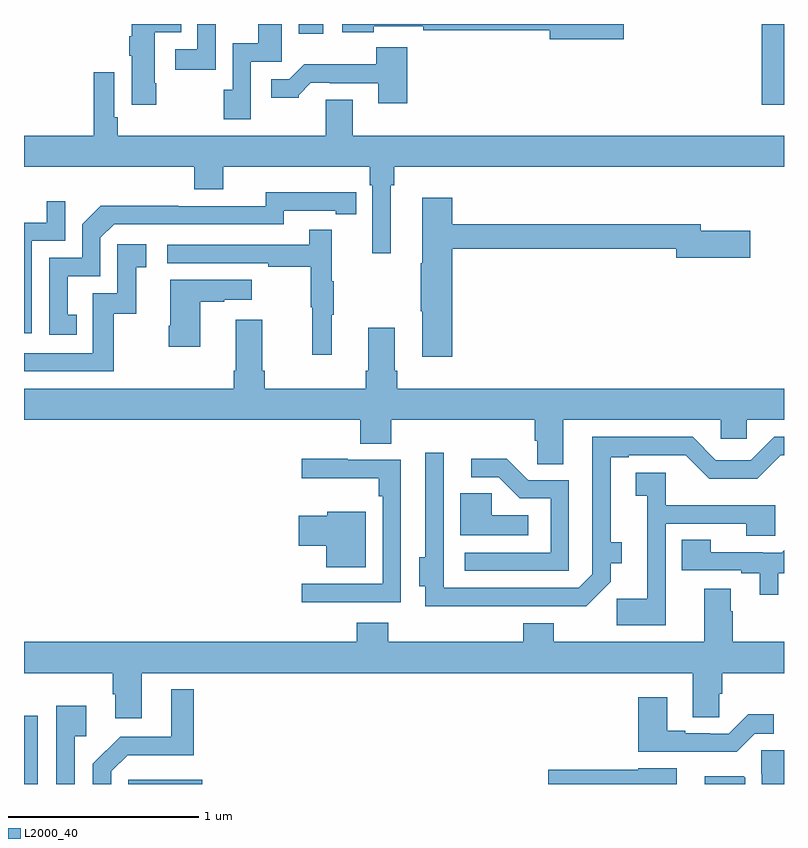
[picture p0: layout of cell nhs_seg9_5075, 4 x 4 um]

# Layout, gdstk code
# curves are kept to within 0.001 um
import gdstk
lib = gdstk.Library(unit=1e-6, precision=1e-09)
def R(c, l, rs):  # rectangles x0, y0, x1, y1
    for r in rs: c.add(gdstk.rectangle(r[:2], r[2:], *l))
def P(c, l, *ps):  # polygons
    for p in ps: c.add(gdstk.Polygon(p, *l))
L2000_40 = (2000, 40)

nhs_seg9_5075 = lib.new_cell('nhs_seg9_5075')
R(nhs_seg9_5075, L2000_40, [(405,1198.5,405.073,1198.86), (405.549,1198.5,405.937,1198.522), (408.884,1202.076,409,1202.5), (406.445,1202.448,406.576,1202.5)])
P(nhs_seg9_5075, L2000_40, [(408.157,1202.5),(406.676,1202.5),(406.676,1202.456),(406.84,1202.456),(406.84,1202.487),(407.101,1202.487),(407.101,1202.467),(407.768,1202.467),(407.768,1202.42),(408.157,1202.42)],
  [(406.194,1202.301),(406.357,1202.301),(406.357,1202.5),(406.232,1202.5),(406.232,1202.398),(406.098,1202.398),(406.098,1202.154),(406.051,1202.154),(406.051,1201.998),(406.194,1201.998)],
  [(405.696,1202.188),(405.688,1202.188),(405.688,1202.456),(405.827,1202.456),(405.827,1202.5),(405.566,1202.5),(405.566,1202.435),(405.554,1202.435),(405.554,1202.332),(405.566,1202.332),(405.566,1202.076),(405.696,1202.076)],
  [(406.008,1202.5),(405.912,1202.5),(405.912,1202.367),(405.795,1202.367),(405.795,1202.259),(406.008,1202.259)],
  [(407.018,1202.377),(406.853,1202.377),(406.853,1202.287),(406.474,1202.287),(406.395,1202.208),(406.302,1202.208),(406.302,1202.111),(406.446,1202.111),(406.446,1202.126),(406.51,1202.19),(406.609,1202.19),(406.609,1202.187),(406.865,1202.187),(406.865,1202.082),(407.018,1202.082)],
  [(406.93,1201.652),(406.949,1201.652),(406.949,1201.748),(409,1201.748),(409,1201.912),(406.729,1201.912),(406.729,1202.102),(406.589,1202.102),(406.589,1201.912),(405.494,1201.912),(405.494,1202.008),(405.474,1202.008),(405.474,1202.245),(405.366,1202.245),(405.366,1201.912),(405,1201.912),(405,1201.748),(405.896,1201.748),(405.896,1201.631),(406.048,1201.631),(406.048,1201.748),(406.82,1201.748),(406.82,1201.652),(406.833,1201.652),(406.833,1201.293),(406.93,1201.293)],
  [(405.278,1200.969),(405.229,1200.969),(405.229,1201.173),(405.402,1201.173),(405.402,1201.374),(405.474,1201.446),(406.368,1201.446),(406.368,1201.518),(406.64,1201.518),(406.64,1201.498),(406.748,1201.498),(406.748,1201.614),(406.272,1201.615),(406.272,1201.542),(405.812,1201.542),(405.812,1201.544),(405.404,1201.544),(405.306,1201.446),(405.306,1201.269),(405.132,1201.269),(405.132,1200.864),(405.278,1200.864)],
  [(407.255,1201.318),(408.434,1201.318),(408.434,1201.271),(408.823,1201.271),(408.823,1201.413),(408.562,1201.413),(408.562,1201.447),(407.255,1201.447),(407.255,1201.585),(407.096,1201.585),(407.096,1201.241),(407.089,1201.241),(407.089,1200.988),(407.096,1200.988),(407.096,1200.75),(407.255,1200.75)],
  [(405.042,1201.359),(405.216,1201.359),(405.216,1201.567),(405.119,1201.567),(405.119,1201.455),(405,1201.455),(405,1200.873),(405.042,1200.873)],
  [(406.619,1200.971),(406.63,1200.971),(406.63,1201.145),(406.619,1201.145),(406.619,1201.417),(406.501,1201.417),(406.501,1201.338),(405.753,1201.338),(405.753,1201.242),(406.285,1201.242),(406.285,1201.222),(406.509,1201.222),(406.509,1201.008),(406.516,1201.008),(406.516,1200.759),(406.619,1200.759)],
  [(405.472,1200.975),(405.59,1200.975),(405.59,1201.221),(405.643,1201.221),(405.643,1201.342),(405.492,1201.342),(405.492,1201.083),(405.363,1201.083),(405.363,1200.768),(405,1200.768),(405,1200.672),(405.472,1200.672)],
  [(405.928,1201.039),(406.055,1201.039),(406.055,1201.049),(406.198,1201.049),(406.198,1201.153),(405.77,1201.153),(405.77,1200.913),(405.763,1200.913),(405.763,1200.801),(405.928,1200.801)],
  [(407.839,1200.416),(408.666,1200.416),(408.666,1200.318),(408.804,1200.318),(408.804,1200.416),(409,1200.416),(409,1200.58),(406.964,1200.58),(406.964,1200.676),(406.951,1200.676),(406.951,1200.901),(406.811,1200.901),(406.811,1200.676),(406.799,1200.676),(406.799,1200.58),(406.268,1200.58),(406.268,1200.676),(406.255,1200.676),(406.255,1200.943),(406.115,1200.943),(406.115,1200.676),(406.103,1200.676),(406.103,1200.58),(405,1200.58),(405,1200.416),(406.769,1200.416),(406.769,1200.292),(406.934,1200.292),(406.934,1200.416),(407.687,1200.416),(407.687,1200.307),(407.7,1200.307),(407.7,1200.184),(407.839,1200.184)],
  [(407.543,1199.436),(407.959,1199.435),(408.089,1199.564),(408.089,1199.663),(408.145,1199.663),(408.145,1199.773),(408.088,1199.773),(408.088,1200.219),(408.184,1200.219),(408.184,1200.231),(408.482,1200.231),(408.606,1200.107),(408.86,1200.107),(408.984,1200.231),(409,1200.231),(409,1200.327),(408.948,1200.327),(408.825,1200.204),(408.642,1200.204),(408.519,1200.327),(407.991,1200.327),(407.991,1199.604),(407.919,1199.532),(407.208,1199.532),(407.208,1200.244),(407.112,1200.244),(407.112,1199.693),(407.081,1199.693),(407.081,1199.54),(407.112,1199.54),(407.112,1199.435)],
  [(407.868,1200.099),(407.655,1200.099),(407.542,1200.212),(407.355,1200.212),(407.355,1200.114),(407.499,1200.114),(407.61,1200.003),(407.772,1200.003),(407.772,1199.718),(407.319,1199.718),(407.319,1199.622),(407.868,1199.622)],
  [(406.983,1200.207),(406.705,1200.207),(406.705,1200.211),(406.461,1200.211),(406.461,1200.11),(406.867,1200.11),(406.867,1200.014),(406.887,1200.014),(406.887,1199.553),(406.461,1199.553),(406.461,1199.457),(406.983,1199.457)],
  [(408.378,1199.871),(408.802,1199.871),(408.802,1199.806),(408.955,1199.806),(408.955,1199.967),(408.845,1199.967),(408.845,1199.968),(408.378,1199.968),(408.378,1200.139),(408.219,1200.139),(408.219,1200.018),(408.281,1200.018),(408.281,1199.475),(408.12,1199.475),(408.12,1199.336),(408.378,1199.336)],
  [(407.653,1199.914),(407.461,1199.914),(407.461,1200.029),(407.297,1200.029),(407.297,1199.81),(407.653,1199.81)],
  [(406.798,1199.932),(406.596,1199.932),(406.596,1199.911),(406.446,1199.911),(406.446,1199.753),(406.592,1199.753),(406.592,1199.642),(406.798,1199.642)],
  [(408.97,1199.61),(409,1199.61),(409,1199.731),(408.987,1199.718),(408.887,1199.718),(408.887,1199.721),(408.615,1199.721),(408.615,1199.786),(408.463,1199.786),(408.463,1199.625),(408.776,1199.625),(408.776,1199.61),(408.872,1199.61),(408.872,1199.496),(408.97,1199.496)],
  [(405.619,1199.084),(408.521,1199.084),(408.521,1198.852),(408.66,1198.852),(408.66,1198.974),(408.674,1198.974),(408.674,1199.084),(409,1199.084),(409,1199.248),(408.729,1199.248),(408.729,1199.408),(408.721,1199.408),(408.721,1199.527),(408.581,1199.527),(408.581,1199.248),(407.787,1199.248),(407.787,1199.347),(407.627,1199.347),(407.627,1199.248),(406.916,1199.248),(406.916,1199.35),(406.751,1199.35),(406.751,1199.248),(405,1199.248),(405,1199.084),(405.467,1199.084),(405.467,1198.973),(405.479,1198.973),(405.479,1198.845),(405.619,1198.845)],
  [(405.459,1198.566),(405.545,1198.652),(405.893,1198.652),(405.893,1198.999),(405.776,1198.999),(405.776,1198.749),(405.506,1198.749),(405.363,1198.606),(405.363,1198.5),(405.459,1198.5)],
  [(408.846,1198.764),(408.946,1198.764),(408.946,1198.867),(408.811,1198.867),(408.708,1198.764),(408.608,1198.764),(408.608,1198.767),(408.481,1198.767),(408.481,1198.78),(408.385,1198.78),(408.385,1198.957),(408.233,1198.957),(408.233,1198.67),(408.751,1198.67)],
  [(405.267,1198.751),(405.328,1198.751),(405.328,1198.912),(405.171,1198.912),(405.171,1198.5),(405.267,1198.5)],
  [(409,1198.677),(408.88,1198.677),(408.88,1198.554),(408.884,1198.554),(408.884,1198.5),(409,1198.5)],
  [(408.436,1198.582),(408.234,1198.582),(408.234,1198.574),(407.76,1198.574),(407.76,1198.5),(408.436,1198.5)],
  [(408.796,1198.532),(408.788,1198.54),(408.584,1198.54),(408.584,1198.5),(408.796,1198.5)])

lib.write_gds('nhs_seg9_5075.gds')
